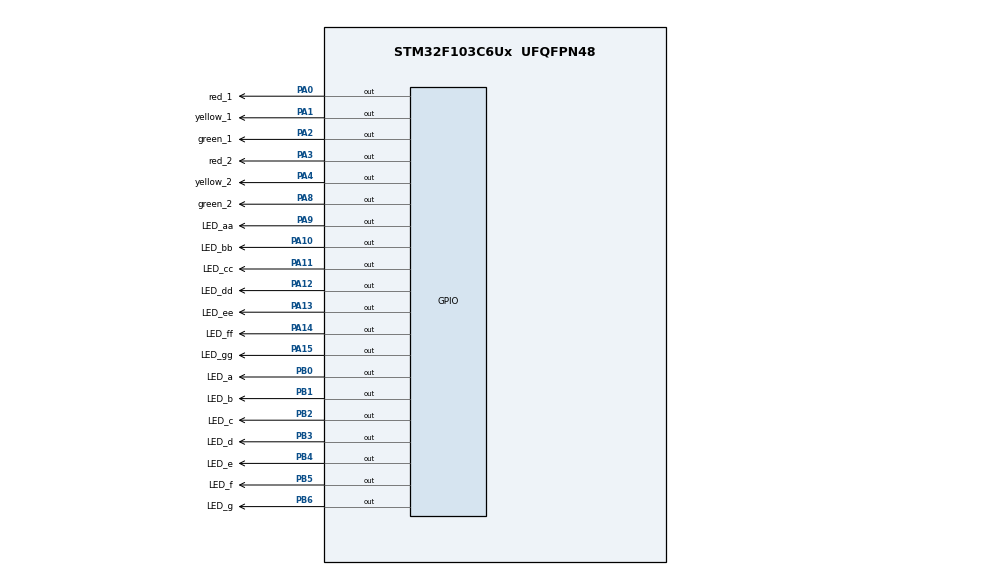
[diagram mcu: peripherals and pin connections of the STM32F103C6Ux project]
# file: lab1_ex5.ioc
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Mcu.Family=STM32F1
Mcu.Name=STM32F103C6Ux
Mcu.Package=UFQFPN48
NVIC.PriorityGroup=NVIC_PRIORITYGROUP_4
PA0-WKUP.GPIO_Label=red_1
PA0-WKUP.GPIO_ModeDefaultOutputPP=GPIO_MODE_OUTPUT_PP
PA0-WKUP.GPIO_PuPd=GPIO_NOPULL
PA0-WKUP.GPIO_Speed=GPIO_SPEED_FREQ_LOW
PA0-WKUP.PinState=GPIO_PIN_RESET
PA0-WKUP.Signal=GPIO_Output
PA1.GPIO_Label=yellow_1
PA1.GPIO_ModeDefaultOutputPP=GPIO_MODE_OUTPUT_PP
PA1.GPIO_PuPd=GPIO_NOPULL
PA1.GPIO_Speed=GPIO_SPEED_FREQ_LOW
PA1.PinState=GPIO_PIN_RESET
PA1.Signal=GPIO_Output
PA10.GPIO_Label=LED_bb
PA10.GPIO_ModeDefaultOutputPP=GPIO_MODE_OUTPUT_PP
PA10.GPIO_PuPd=GPIO_NOPULL
PA10.GPIO_Speed=GPIO_SPEED_FREQ_LOW
PA10.PinState=GPIO_PIN_RESET
PA10.Signal=GPIO_Output
PA11.GPIO_Label=LED_cc
PA11.GPIO_ModeDefaultOutputPP=GPIO_MODE_OUTPUT_PP
PA11.GPIO_PuPd=GPIO_NOPULL
PA11.GPIO_Speed=GPIO_SPEED_FREQ_LOW
PA11.PinState=GPIO_PIN_RESET
PA11.Signal=GPIO_Output
PA12.GPIO_Label=LED_dd
PA12.GPIO_ModeDefaultOutputPP=GPIO_MODE_OUTPUT_PP
PA12.GPIO_PuPd=GPIO_NOPULL
PA12.GPIO_Speed=GPIO_SPEED_FREQ_LOW
PA12.PinState=GPIO_PIN_RESET
PA12.Signal=GPIO_Output
PA13.GPIO_Label=LED_ee
PA13.GPIO_ModeDefaultOutputPP=GPIO_MODE_OUTPUT_PP
PA13.GPIO_PuPd=GPIO_NOPULL
PA13.GPIO_Speed=GPIO_SPEED_FREQ_LOW
PA13.PinState=GPIO_PIN_RESET
PA13.Signal=GPIO_Output
PA14.GPIO_Label=LED_ff
PA14.GPIO_ModeDefaultOutputPP=GPIO_MODE_OUTPUT_PP
PA14.GPIO_PuPd=GPIO_NOPULL
PA14.GPIO_Speed=GPIO_SPEED_FREQ_LOW
PA14.PinState=GPIO_PIN_RESET
PA14.Signal=GPIO_Output
PA15.GPIO_Label=LED_gg
PA15.GPIO_ModeDefaultOutputPP=GPIO_MODE_OUTPUT_PP
PA15.GPIO_PuPd=GPIO_NOPULL
PA15.GPIO_Speed=GPIO_SPEED_FREQ_LOW
PA15.PinState=GPIO_PIN_RESET
PA15.Signal=GPIO_Output
PA2.GPIO_Label=green_1
PA2.GPIO_ModeDefaultOutputPP=GPIO_MODE_OUTPUT_PP
PA2.GPIO_PuPd=GPIO_NOPULL
PA2.GPIO_Speed=GPIO_SPEED_FREQ_LOW
PA2.PinState=GPIO_PIN_RESET
PA2.Signal=GPIO_Output
PA3.GPIO_Label=red_2
PA3.GPIO_ModeDefaultOutputPP=GPIO_MODE_OUTPUT_PP
PA3.GPIO_PuPd=GPIO_NOPULL
PA3.GPIO_Speed=GPIO_SPEED_FREQ_LOW
PA3.PinState=GPIO_PIN_RESET
PA3.Signal=GPIO_Output
PA4.GPIO_Label=yellow_2
PA4.GPIO_ModeDefaultOutputPP=GPIO_MODE_OUTPUT_PP
PA4.GPIO_PuPd=GPIO_NOPULL
PA4.GPIO_Speed=GPIO_SPEED_FREQ_LOW
PA4.PinState=GPIO_PIN_RESET
PA4.Signal=GPIO_Output
PA8.GPIO_Label=green_2
PA8.GPIO_ModeDefaultOutputPP=GPIO_MODE_OUTPUT_PP
PA8.GPIO_PuPd=GPIO_NOPULL
PA8.GPIO_Speed=GPIO_SPEED_FREQ_LOW
PA8.PinState=GPIO_PIN_RESET
PA8.Signal=GPIO_Output
PA9.GPIO_Label=LED_aa
PA9.GPIO_ModeDefaultOutputPP=GPIO_MODE_OUTPUT_PP
PA9.GPIO_PuPd=GPIO_NOPULL
PA9.GPIO_Speed=GPIO_SPEED_FREQ_LOW
PA9.PinState=GPIO_PIN_RESET
PA9.Signal=GPIO_Output
PB0.GPIO_Label=LED_a
PB0.GPIO_ModeDefaultOutputPP=GPIO_MODE_OUTPUT_PP
PB0.GPIO_PuPd=GPIO_NOPULL
PB0.GPIO_Speed=GPIO_SPEED_FREQ_LOW
PB0.PinState=GPIO_PIN_RESET
PB0.Signal=GPIO_Output
PB1.GPIO_Label=LED_b
PB1.GPIO_ModeDefaultOutputPP=GPIO_MODE_OUTPUT_PP
PB1.GPIO_PuPd=GPIO_NOPULL
PB1.GPIO_Speed=GPIO_SPEED_FREQ_LOW
PB1.PinState=GPIO_PIN_RESET
PB1.Signal=GPIO_Output
PB2.GPIO_Label=LED_c
PB2.GPIO_ModeDefaultOutputPP=GPIO_MODE_OUTPUT_PP
PB2.GPIO_PuPd=GPIO_NOPULL
PB2.GPIO_Speed=GPIO_SPEED_FREQ_LOW
PB2.PinState=GPIO_PIN_RESET
PB2.Signal=GPIO_Output
PB3.GPIO_Label=LED_d
PB3.GPIO_ModeDefaultOutputPP=GPIO_MODE_OUTPUT_PP
PB3.GPIO_PuPd=GPIO_NOPULL
PB3.GPIO_Speed=GPIO_SPEED_FREQ_LOW
PB3.PinState=GPIO_PIN_RESET
PB3.Signal=GPIO_Output
PB4.GPIO_Label=LED_e
PB4.GPIO_ModeDefaultOutputPP=GPIO_MODE_OUTPUT_PP
PB4.GPIO_PuPd=GPIO_NOPULL
PB4.GPIO_Speed=GPIO_SPEED_FREQ_LOW
PB4.PinState=GPIO_PIN_RESET
PB4.Signal=GPIO_Output
PB5.GPIO_Label=LED_f
PB5.GPIO_ModeDefaultOutputPP=GPIO_MODE_OUTPUT_PP
PB5.GPIO_PuPd=GPIO_NOPULL
PB5.GPIO_Speed=GPIO_SPEED_FREQ_LOW
PB5.PinState=GPIO_PIN_RESET
PB5.Signal=GPIO_Output
PB6.GPIO_Label=LED_g
PB6.GPIO_ModeDefaultOutputPP=GPIO_MODE_OUTPUT_PP
PB6.GPIO_PuPd=GPIO_NOPULL
PB6.GPIO_Speed=GPIO_SPEED_FREQ_LOW
PB6.PinState=GPIO_PIN_RESET
PB6.Signal=GPIO_Output
ProjectManager.HeapSize=0x200
ProjectManager.StackSize=0x400
ProjectManager.TargetToolchain=STM32CubeIDE
RCC.APB1Freq_Value=8000000
RCC.APB2Freq_Value=8000000
board=custom

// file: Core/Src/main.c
/* USER CODE BEGIN Header */
/**
  ******************************************************************************
  * @file           : main.c
  * @brief          : Main program body
  ******************************************************************************
  * @attention
  *
  * Copyright (c) 2025 STMicroelectronics.
  * All rights reserved.
  *
  * This software is licensed under terms that can be found in the LICENSE file
  * in the root directory of this software component.
  * If no LICENSE file comes with this software, it is provided AS-IS.
  *
  ******************************************************************************
  */
/* USER CODE END Header */
#include "main.h"

void SystemClock_Config(void);
static void MX_GPIO_Init(void);

int main(void)
{

  /* MCU Configuration--------------------------------------------------------*/

  /* Reset of all peripherals, Initializes the Flash interface and the Systick. */
  HAL_Init();

  /* Configure the system clock */
  SystemClock_Config();

  /* Initialize all configured peripherals */
  MX_GPIO_Init();
  /* USER CODE BEGIN 2 */
  void display7SEG(int num){
 	  // common anode => set = off; reset= on
 	  switch(num){
 	  case 0:
 		  HAL_GPIO_WritePin(LED_g_GPIO_Port, LED_g_Pin, SET);

 		  HAL_GPIO_WritePin(LED_a_GPIO_Port, LED_a_Pin, RESET);
 		  HAL_GPIO_WritePin(LED_b_GPIO_Port, LED_b_Pin, RESET);
 		  HAL_GPIO_WritePin(LED_c_GPIO_Port, LED_c_Pin, RESET);
 		  HAL_GPIO_WritePin(LED_d_GPIO_Port, LED_d_Pin, RESET);
 		  HAL_GPIO_WritePin(LED_e_GPIO_Port, LED_e_Pin, RESET);
 		  HAL_GPIO_WritePin(LED_f_GPIO_Port, LED_f_Pin, RESET);
 		  break;

 	  case 1:
 		  HAL_GPIO_WritePin(LED_a_GPIO_Port, LED_a_Pin, SET);
 		  HAL_GPIO_WritePin(LED_f_GPIO_Port, LED_f_Pin, SET);
 		  HAL_GPIO_WritePin(LED_e_GPIO_Port, LED_e_Pin, SET);
 		  HAL_GPIO_WritePin(LED_d_GPIO_Port, LED_d_Pin, SET);
 		  HAL_GPIO_WritePin(LED_g_GPIO_Port, LED_g_Pin, SET);
 		  HAL_GPIO_WritePin(LED_b_GPIO_Port, LED_b_Pin, RESET);
 		  HAL_GPIO_WritePin(LED_c_GPIO_Port, LED_c_Pin, RESET);
 		  break;
       case 2: // a b d e g sang
           HAL_GPIO_WritePin(LED_a_GPIO_Port, LED_a_Pin, GPIO_PIN_RESET);
           HAL_GPIO_WritePin(LED_b_GPIO_Port, LED_b_Pin, GPIO_PIN_RESET);
           HAL_GPIO_WritePin(LED_c_GPIO_Port, LED_c_Pin, GPIO_PIN_SET);
           HAL_GPIO_WritePin(LED_d_GPIO_Port, LED_d_Pin, GPIO_PIN_RESET);
           HAL_GPIO_WritePin(LED_e_GPIO_Port, LED_e_Pin, GPIO_PIN_RESET);
           HAL_GPIO_WritePin(LED_f_GPIO_Port, LED_f_Pin, GPIO_PIN_SET);
           HAL_GPIO_WritePin(LED_g_GPIO_Port, LED_g_Pin, GPIO_PIN_RESET);
           break;
       case 3: // a b c d g sang
           HAL_GPIO_WritePin(LED_a_GPIO_Port, LED_a_Pin, GPIO_PIN_RESET);
           HAL_GPIO_WritePin(LED_b_GPIO_Port, LED_b_Pin, GPIO_PIN_RESET);
           HAL_GPIO_WritePin(LED_c_GPIO_Port, LED_c_Pin, GPIO_PIN_RESET);
           HAL_GPIO_WritePin(LED_d_GPIO_Port, LED_d_Pin, GPIO_PIN_RESET);
           HAL_GPIO_WritePin(LED_e_GPIO_Port, LED_e_Pin, GPIO_PIN_SET);
           HAL_GPIO_WritePin(LED_f_GPIO_Port, LED_f_Pin, GPIO_PIN_SET);
           HAL_GPIO_WritePin(LED_g_GPIO_Port, LED_g_Pin, GPIO_PIN_RESET);
           break;

       case 4: // b c f g sang
           HAL_GPIO_WritePin(LED_a_GPIO_Port, LED_a_Pin, GPIO_PIN_SET);
           HAL_GPIO_WritePin(LED_b_GPIO_Port, LED_b_Pin, GPIO_PIN_RESET);
           HAL_GPIO_WritePin(LED_c_GPIO_Port, LED_c_Pin, GPIO_PIN_RESET);
           HAL_GPIO_WritePin(LED_d_GPIO_Port, LED_d_Pin, GPIO_PIN_SET);
           HAL_GPIO_WritePin(LED_e_GPIO_Port, LED_e_Pin, GPIO_PIN_SET);
           HAL_GPIO_WritePin(LED_f_GPIO_Port, LED_f_Pin, GPIO_PIN_RESET);
           HAL_GPIO_WritePin(LED_g_GPIO_Port, LED_g_Pin, GPIO_PIN_RESET);
           break;

       case 5: // a c d f g sang
           HAL_GPIO_WritePin(LED_a_GPIO_Port, LED_a_Pin, GPIO_PIN_RESET);
           HAL_GPIO_WritePin(LED_b_GPIO_Port, LED_b_Pin, GPIO_PIN_SET);
           HAL_GPIO_WritePin(LED_c_GPIO_Port, LED_c_Pin, GPIO_PIN_RESET);
           HAL_GPIO_WritePin(LED_d_GPIO_Port, LED_d_Pin, GPIO_PIN_RESET);
           HAL_GPIO_WritePin(LED_e_GPIO_Port, LED_e_Pin, GPIO_PIN_SET);
           HAL_GPIO_WritePin(LED_f_GPIO_Port, LED_f_Pin, GPIO_PIN_RESET);
           HAL_GPIO_WritePin(LED_g_GPIO_Port, LED_g_Pin, GPIO_PIN_RESET);
           break;

       case 6: // a c d e f g sang
           HAL_GPIO_WritePin(LED_a_GPIO_Port, LED_a_Pin, GPIO_PIN_RESET);
           HAL_GPIO_WritePin(LED_b_GPIO_Port, LED_b_Pin, GPIO_PIN_SET);
           HAL_GPIO_WritePin(LED_c_GPIO_Port, LED_c_Pin, GPIO_PIN_RESET);
           HAL_GPIO_WritePin(LED_d_GPIO_Port, LED_d_Pin, GPIO_PIN_RESET);
           HAL_GPIO_WritePin(LED_e_GPIO_Port, LED_e_Pin, GPIO_PIN_RESET);
           HAL_GPIO_WritePin(LED_f_GPIO_Port, LED_f_Pin, GPIO_PIN_RESET);
           HAL_GPIO_WritePin(LED_g_GPIO_Port, LED_g_Pin, GPIO_PIN_RESET);
           break;

       case 7: // a b c sang
           HAL_GPIO_WritePin(LED_a_GPIO_Port, LED_a_Pin, GPIO_PIN_RESET);
           HAL_GPIO_WritePin(LED_b_GPIO_Port, LED_b_Pin, GPIO_PIN_RESET);
           HAL_GPIO_WritePin(LED_c_GPIO_Port, LED_c_Pin, GPIO_PIN_RESET);
           HAL_GPIO_WritePin(LED_d_GPIO_Port, LED_d_Pin, GPIO_PIN_SET);
           HAL_GPIO_WritePin(LED_e_GPIO_Port, LED_e_Pin, GPIO_PIN_SET);
           HAL_GPIO_WritePin(LED_f_GPIO_Port, LED_f_Pin, GPIO_PIN_SET);
           HAL_GPIO_WritePin(LED_g_GPIO_Port, LED_g_Pin, GPIO_PIN_SET);
           break;

       case 8: // all
           HAL_GPIO_WritePin(LED_a_GPIO_Port, LED_a_Pin, GPIO_PIN_RESET);
           HAL_GPIO_WritePin(LED_b_GPIO_Port, LED_b_Pin, GPIO_PIN_RESET);
           HAL_GPIO_WritePin(LED_c_GPIO_Port, LED_c_Pin, GPIO_PIN_RESET);
           HAL_GPIO_WritePin(LED_d_GPIO_Port, LED_d_Pin, GPIO_PIN_RESET);
           HAL_GPIO_WritePin(LED_e_GPIO_Port, LED_e_Pin, GPIO_PIN_RESET);
           HAL_GPIO_WritePin(LED_f_GPIO_Port, LED_f_Pin, GPIO_PIN_RESET);
           HAL_GPIO_WritePin(LED_g_GPIO_Port, LED_g_Pin, GPIO_PIN_RESET);
           break;

       case 9: // a b c d f g sang
           HAL_GPIO_WritePin(LED_a_GPIO_Port, LED_a_Pin, GPIO_PIN_RESET);
           HAL_GPIO_WritePin(LED_b_GPIO_Port, LED_b_Pin, GPIO_PIN_RESET);
           HAL_GPIO_WritePin(LED_c_GPIO_Port, LED_c_Pin, GPIO_PIN_RESET);
           HAL_GPIO_WritePin(LED_d_GPIO_Port, LED_d_Pin, GPIO_PIN_RESET);
           HAL_GPIO_WritePin(LED_e_GPIO_Port, LED_e_Pin, GPIO_PIN_SET);
           HAL_GPIO_WritePin(LED_f_GPIO_Port, LED_f_Pin, GPIO_PIN_RESET);
           HAL_GPIO_WritePin(LED_g_GPIO_Port, LED_g_Pin, GPIO_PIN_RESET);
           break;
 	  }
  }

void display7SEG_2(int num){
 	 	  // common anode => set = off; reset= on
 	 	  switch(num){
 	 	  case 0:
 	 		  HAL_GPIO_WritePin(LED_gg_GPIO_Port, LED_gg_Pin, SET);

 	 		  HAL_GPIO_WritePin(LED_aa_GPIO_Port, LED_aa_Pin, RESET);
 	 		  HAL_GPIO_WritePin(LED_bb_GPIO_Port, LED_bb_Pin, RESET);
 	 		  HAL_GPIO_WritePin(LED_cc_GPIO_Port, LED_cc_Pin, RESET);
 	 		  HAL_GPIO_WritePin(LED_dd_GPIO_Port, LED_dd_Pin, RESET);
 	 		  HAL_GPIO_WritePin(LED_ee_GPIO_Port, LED_ee_Pin, RESET);
 	 		  HAL_GPIO_WritePin(LED_ff_GPIO_Port, LED_ff_Pin, RESET);
 	 		  break;

 	 	  case 1:
 	 		  HAL_GPIO_WritePin(LED_aa_GPIO_Port, LED_aa_Pin, SET);
 	 		  HAL_GPIO_WritePin(LED_ff_GPIO_Port, LED_ff_Pin, SET);
 	 		  HAL_GPIO_WritePin(LED_ee_GPIO_Port, LED_ee_Pin, SET);
 	 		  HAL_GPIO_WritePin(LED_dd_GPIO_Port, LED_dd_Pin, SET);
 	 		  HAL_GPIO_WritePin(LED_gg_GPIO_Port, LED_gg_Pin, SET);

 	 		  HAL_GPIO_WritePin(LED_bb_GPIO_Port, LED_bb_Pin, RESET);
 	 		  HAL_GPIO_WritePin(LED_cc_GPIO_Port, LED_cc_Pin, RESET);
 	 		  break;
 	       case 2: // a b d e g sang
 	           HAL_GPIO_WritePin(LED_aa_GPIO_Port, LED_aa_Pin, GPIO_PIN_RESET);
 	           HAL_GPIO_WritePin(LED_bb_GPIO_Port, LED_bb_Pin, GPIO_PIN_RESET);
 	           HAL_GPIO_WritePin(LED_cc_GPIO_Port, LED_cc_Pin, GPIO_PIN_SET);
 	           HAL_GPIO_WritePin(LED_dd_GPIO_Port, LED_dd_Pin, GPIO_PIN_RESET);
 	           HAL_GPIO_WritePin(LED_ee_GPIO_Port, LED_ee_Pin, GPIO_PIN_RESET);
 	           HAL_GPIO_WritePin(LED_ff_GPIO_Port, LED_ff_Pin, GPIO_PIN_SET);
 	           HAL_GPIO_WritePin(LED_gg_GPIO_Port, LED_gg_Pin, GPIO_PIN_RESET);
 	           break;
 	       case 3: // a b c d g sang
 	           HAL_GPIO_WritePin(LED_aa_GPIO_Port, LED_aa_Pin, GPIO_PIN_RESET);
 	           HAL_GPIO_WritePin(LED_bb_GPIO_Port, LED_bb_Pin, GPIO_PIN_RESET);
 	           HAL_GPIO_WritePin(LED_cc_GPIO_Port, LED_cc_Pin, GPIO_PIN_RESET);
 	           HAL_GPIO_WritePin(LED_dd_GPIO_Port, LED_dd_Pin, GPIO_PIN_RESET);
 	           HAL_GPIO_WritePin(LED_ee_GPIO_Port, LED_ee_Pin, GPIO_PIN_SET);
 	           HAL_GPIO_WritePin(LED_ff_GPIO_Port, LED_ff_Pin, GPIO_PIN_SET);
 	           HAL_GPIO_WritePin(LED_gg_GPIO_Port, LED_gg_Pin, GPIO_PIN_RESET);
 	           break;

 	       case 4: // b c f g sang
 	           HAL_GPIO_WritePin(LED_aa_GPIO_Port, LED_aa_Pin, GPIO_PIN_SET);
 	           HAL_GPIO_WritePin(LED_bb_GPIO_Port, LED_bb_Pin, GPIO_PIN_RESET);
 	           HAL_GPIO_WritePin(LED_cc_GPIO_Port, LED_cc_Pin, GPIO_PIN_RESET);
 	           HAL_GPIO_WritePin(LED_dd_GPIO_Port, LED_dd_Pin, GPIO_PIN_SET);
 	           HAL_GPIO_WritePin(LED_ee_GPIO_Port, LED_ee_Pin, GPIO_PIN_SET);
 	           HAL_GPIO_WritePin(LED_ff_GPIO_Port, LED_ff_Pin, GPIO_PIN_RESET);
 	           HAL_GPIO_WritePin(LED_gg_GPIO_Port, LED_gg_Pin, GPIO_PIN_RESET);
 	           break;

 	       case 5: // a c d f g sang
 	           HAL_GPIO_WritePin(LED_aa_GPIO_Port, LED_aa_Pin, GPIO_PIN_RESET);
 	           HAL_GPIO_WritePin(LED_bb_GPIO_Port, LED_bb_Pin, GPIO_PIN_SET);
 	           HAL_GPIO_WritePin(LED_cc_GPIO_Port, LED_cc_Pin, GPIO_PIN_RESET);
 	           HAL_GPIO_WritePin(LED_dd_GPIO_Port, LED_dd_Pin, GPIO_PIN_RESET);
 	           HAL_GPIO_WritePin(LED_ee_GPIO_Port, LED_ee_Pin, GPIO_PIN_SET);
 	           HAL_GPIO_WritePin(LED_ff_GPIO_Port, LED_ff_Pin, GPIO_PIN_RESET);
 	           HAL_GPIO_WritePin(LED_gg_GPIO_Port, LED_gg_Pin, GPIO_PIN_RESET);
 	           break;

 	       case 6: // a c d e f g sang
 	           HAL_GPIO_WritePin(LED_aa_GPIO_Port, LED_aa_Pin, GPIO_PIN_RESET);
 	           HAL_GPIO_WritePin(LED_bb_GPIO_Port, LED_bb_Pin, GPIO_PIN_SET);
 	           HAL_GPIO_WritePin(LED_cc_GPIO_Port, LED_cc_Pin, GPIO_PIN_RESET);
 	           HAL_GPIO_WritePin(LED_dd_GPIO_Port, LED_dd_Pin, GPIO_PIN_RESET);
 	           HAL_GPIO_WritePin(LED_ee_GPIO_Port, LED_ee_Pin, GPIO_PIN_RESET);
 	           HAL_GPIO_WritePin(LED_ff_GPIO_Port, LED_ff_Pin, GPIO_PIN_RESET);
 	           HAL_GPIO_WritePin(LED_gg_GPIO_Port, LED_gg_Pin, GPIO_PIN_RESET);
 	           break;

 	       case 7: // a b c sang
 	           HAL_GPIO_WritePin(LED_aa_GPIO_Port, LED_aa_Pin, GPIO_PIN_RESET);
 	           HAL_GPIO_WritePin(LED_bb_GPIO_Port, LED_bb_Pin, GPIO_PIN_RESET);
 	           HAL_GPIO_WritePin(LED_cc_GPIO_Port, LED_cc_Pin, GPIO_PIN_RESET);
 	           HAL_GPIO_WritePin(LED_dd_GPIO_Port, LED_dd_Pin, GPIO_PIN_SET);
 	           HAL_GPIO_WritePin(LED_ee_GPIO_Port, LED_ee_Pin, GPIO_PIN_SET);
 	           HAL_GPIO_WritePin(LED_ff_GPIO_Port, LED_ff_Pin, GPIO_PIN_SET);
 	           HAL_GPIO_WritePin(LED_gg_GPIO_Port, LED_gg_Pin, GPIO_PIN_SET);
 	           break;

 	       case 8: // all
 	           HAL_GPIO_WritePin(LED_aa_GPIO_Port, LED_aa_Pin, GPIO_PIN_RESET);
 	           HAL_GPIO_WritePin(LED_bb_GPIO_Port, LED_bb_Pin, GPIO_PIN_RESET);
 	           HAL_GPIO_WritePin(LED_cc_GPIO_Port, LED_cc_Pin, GPIO_PIN_RESET);
 	           HAL_GPIO_WritePin(LED_dd_GPIO_Port, LED_dd_Pin, GPIO_PIN_RESET);
 	           HAL_GPIO_WritePin(LED_ee_GPIO_Port, LED_ee_Pin, GPIO_PIN_RESET);
 	           HAL_GPIO_WritePin(LED_ff_GPIO_Port, LED_ff_Pin, GPIO_PIN_RESET);
 	           HAL_GPIO_WritePin(LED_gg_GPIO_Port, LED_gg_Pin, GPIO_PIN_RESET);
 	           break;

 	       case 9: // a b c d f g sang
 	           HAL_GPIO_WritePin(LED_aa_GPIO_Port, LED_aa_Pin, GPIO_PIN_RESET);
 	           HAL_GPIO_WritePin(LED_bb_GPIO_Port, LED_bb_Pin, GPIO_PIN_RESET);
 	           HAL_GPIO_WritePin(LED_cc_GPIO_Port, LED_cc_Pin, GPIO_PIN_RESET);
 	           HAL_GPIO_WritePin(LED_dd_GPIO_Port, LED_dd_Pin, GPIO_PIN_RESET);
 	           HAL_GPIO_WritePin(LED_ee_GPIO_Port, LED_ee_Pin, GPIO_PIN_SET);
 	           HAL_GPIO_WritePin(LED_ff_GPIO_Port, LED_ff_Pin, GPIO_PIN_RESET);
 	           HAL_GPIO_WritePin(LED_gg_GPIO_Port, LED_gg_Pin, GPIO_PIN_RESET);
 	           break;
 	 	  }
}

void countdown(int time1, int time2) {
	for (int i = 0; i < (time1 > time2 ? time1 : time2); i++){
        if(time1 - i >= 0) {
            display7SEG(time1 - i);
        }
        if(time2 - i >= 0) {
            display7SEG_2(time2 - i);
        }
        HAL_Delay(1000);
    }
}

void trafficLight(void){

    HAL_GPIO_WritePin(red_1_GPIO_Port, red_1_Pin, SET);
    HAL_GPIO_WritePin(yellow_1_GPIO_Port, yellow_1_Pin, RESET);
    HAL_GPIO_WritePin(green_1_GPIO_Port, green_1_Pin, RESET);

    HAL_GPIO_WritePin(red_2_GPIO_Port, red_2_Pin, RESET);
    HAL_GPIO_WritePin(yellow_2_GPIO_Port, yellow_2_Pin, RESET);
    HAL_GPIO_WritePin(green_2_GPIO_Port, green_2_Pin, SET);

    countdown(5, 3);

    //
    /*HAL_GPIO_WritePin(red_2_GPIO_Port, red_2_Pin, RESET);
    HAL_GPIO_WritePin(yellow_2_GPIO_Port, yellow_2_Pin, SET);
    HAL_GPIO_WritePin(green_2_GPIO_Port, green_2_Pin, RESET);

    countdown(2, 2);*/

    //
    HAL_GPIO_WritePin(red_1_GPIO_Port, red_1_Pin, RESET);
    HAL_GPIO_WritePin(yellow_1_GPIO_Port, yellow_1_Pin, RESET);
    HAL_GPIO_WritePin(green_1_GPIO_Port, green_1_Pin, SET);

    HAL_GPIO_WritePin(red_2_GPIO_Port, red_2_Pin, SET);
    HAL_GPIO_WritePin(yellow_2_GPIO_Port, yellow_2_Pin, RESET);
    HAL_GPIO_WritePin(green_2_GPIO_Port, green_2_Pin, RESET);

    countdown(3, 1);

    //
    HAL_GPIO_WritePin(red_1_GPIO_Port, red_1_Pin, RESET);
    HAL_GPIO_WritePin(yellow_1_GPIO_Port, yellow_1_Pin, SET);
    HAL_GPIO_WritePin(green_1_GPIO_Port, green_1_Pin, RESET);

    countdown(2, 1);
}

  /* USER CODE END 2 */

  /* Infinite loop */
  while (1)
  {
	  trafficLight();
  }
}

void SystemClock_Config(void)
{
  RCC_OscInitTypeDef RCC_OscInitStruct = {0};
  RCC_ClkInitTypeDef RCC_ClkInitStruct = {0};

  /** Initializes the RCC Oscillators according to the specified parameters
  * in the RCC_OscInitTypeDef structure.
  */
  RCC_OscInitStruct.OscillatorType = RCC_OSCILLATORTYPE_HSI;
  RCC_OscInitStruct.HSIState = RCC_HSI_ON;
  RCC_OscInitStruct.HSICalibrationValue = RCC_HSICALIBRATION_DEFAULT;
  RCC_OscInitStruct.PLL.PLLState = RCC_PLL_NONE;
  if (HAL_RCC_OscConfig(&RCC_OscInitStruct) != HAL_OK)
  {
    Error_Handler();
  }

  /** Initializes the CPU, AHB and APB buses clocks
  */
  RCC_ClkInitStruct.ClockType = RCC_CLOCKTYPE_HCLK|RCC_CLOCKTYPE_SYSCLK
                              |RCC_CLOCKTYPE_PCLK1|RCC_CLOCKTYPE_PCLK2;
  RCC_ClkInitStruct.SYSCLKSource = RCC_SYSCLKSOURCE_HSI;
  RCC_ClkInitStruct.AHBCLKDivider = RCC_SYSCLK_DIV1;
  RCC_ClkInitStruct.APB1CLKDivider = RCC_HCLK_DIV1;
  RCC_ClkInitStruct.APB2CLKDivider = RCC_HCLK_DIV1;

  if (HAL_RCC_ClockConfig(&RCC_ClkInitStruct, FLASH_LATENCY_0) != HAL_OK)
  {
    Error_Handler();
  }
}

static void MX_GPIO_Init(void)
{
  GPIO_InitTypeDef GPIO_InitStruct = {0};

  /* GPIO Ports Clock Enable */
  __HAL_RCC_GPIOA_CLK_ENABLE();
  __HAL_RCC_GPIOB_CLK_ENABLE();

  /*Configure GPIO pin Output Level */
  HAL_GPIO_WritePin(GPIOA, red_1_Pin|yellow_1_Pin|green_1_Pin|red_2_Pin
                          |yellow_2_Pin|green_2_Pin|LED_aa_Pin|LED_bb_Pin
                          |LED_cc_Pin|LED_dd_Pin|LED_ee_Pin|LED_ff_Pin
                          |LED_gg_Pin, GPIO_PIN_RESET);

  /*Configure GPIO pin Output Level */
  HAL_GPIO_WritePin(GPIOB, LED_a_Pin|LED_b_Pin|LED_c_Pin|LED_d_Pin
                          |LED_e_Pin|LED_f_Pin|LED_g_Pin, GPIO_PIN_RESET);

  /*Configure GPIO pins : red_1_Pin yellow_1_Pin green_1_Pin red_2_Pin
                           yellow_2_Pin green_2_Pin LED_aa_Pin LED_bb_Pin
                           LED_cc_Pin LED_dd_Pin LED_ee_Pin LED_ff_Pin
                           LED_gg_Pin */
  GPIO_InitStruct.Pin = red_1_Pin|yellow_1_Pin|green_1_Pin|red_2_Pin
                          |yellow_2_Pin|green_2_Pin|LED_aa_Pin|LED_bb_Pin
                          |LED_cc_Pin|LED_dd_Pin|LED_ee_Pin|LED_ff_Pin
                          |LED_gg_Pin;
  GPIO_InitStruct.Mode = GPIO_MODE_OUTPUT_PP;
  GPIO_InitStruct.Pull = GPIO_NOPULL;
  GPIO_InitStruct.Speed = GPIO_SPEED_FREQ_LOW;
  HAL_GPIO_Init(GPIOA, &GPIO_InitStruct);

  /*Configure GPIO pins : LED_a_Pin LED_b_Pin LED_c_Pin LED_d_Pin
                           LED_e_Pin LED_f_Pin LED_g_Pin */
  GPIO_InitStruct.Pin = LED_a_Pin|LED_b_Pin|LED_c_Pin|LED_d_Pin
                          |LED_e_Pin|LED_f_Pin|LED_g_Pin;
  GPIO_InitStruct.Mode = GPIO_MODE_OUTPUT_PP;
  GPIO_InitStruct.Pull = GPIO_NOPULL;
  GPIO_InitStruct.Speed = GPIO_SPEED_FREQ_LOW;
  HAL_GPIO_Init(GPIOB, &GPIO_InitStruct);

}

void Error_Handler(void)
{
  __disable_irq();
  while (1)
  {
  }
}
